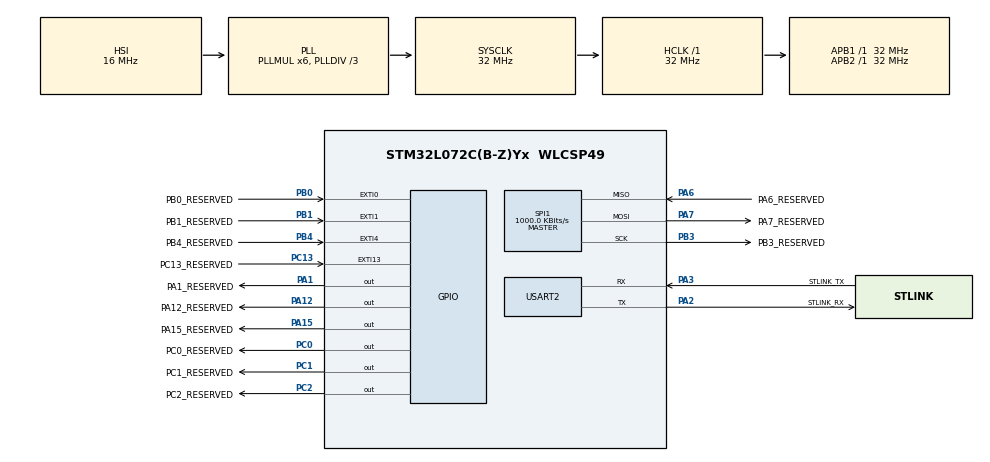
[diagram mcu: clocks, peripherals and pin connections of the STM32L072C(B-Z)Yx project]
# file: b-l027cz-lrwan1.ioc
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CRC.InputDataFormat=CRC_INPUTDATA_FORMAT_WORDS
Mcu.Family=STM32L0
Mcu.Name=STM32L072C(B-Z)Yx
Mcu.Package=WLCSP49
NVIC.EXTI0_1_IRQn=true\:0\:0\:false\:false\:true\:true\:true\:true
NVIC.EXTI4_15_IRQn=true\:0\:0\:false\:false\:true\:true\:true\:true
NVIC.RTC_IRQn=true\:0\:0\:false\:false\:true\:true\:true\:true
NVIC.USART2_IRQn=true\:0\:0\:false\:false\:true\:true\:true\:true
PA1.GPIO_Label=PA1_RESERVED
PA1.GPIO_Speed=GPIO_SPEED_FREQ_HIGH
PA1.PinState=GPIO_PIN_RESET
PA1.Signal=GPIO_Output
PA12.GPIO_Label=PA12_RESERVED
PA12.GPIO_Speed=GPIO_SPEED_FREQ_HIGH
PA12.Signal=GPIO_Output
PA15.GPIO_Label=PA15_RESERVED
PA15.GPIO_Speed=GPIO_SPEED_FREQ_HIGH
PA15.Signal=GPIO_Output
PA2.GPIO_Label=STLINK_RX
PA2.Mode=Asynchronous
PA2.Signal=USART2_TX
PA3.GPIO_Label=STLINK_TX
PA3.Mode=Asynchronous
PA3.Signal=USART2_RX
PA6.GPIO_Label=PA6_RESERVED
PA6.Mode=Full_Duplex_Master
PA6.Signal=SPI1_MISO
PA7.GPIO_Label=PA7_RESERVED
PA7.Mode=Full_Duplex_Master
PA7.Signal=SPI1_MOSI
PB0.GPIO_Label=PB0_RESERVED
PB0.Signal=GPXTI0
PB1.GPIO_Label=PB1_RESERVED
PB1.Signal=GPXTI1
PB3.GPIO_Label=PB3_RESERVED
PB3.Mode=Full_Duplex_Master
PB3.Signal=SPI1_SCK
PB4.GPIO_Label=PB4_RESERVED
PB4.Signal=GPXTI4
PC0.GPIO_Label=PC0_RESERVED
PC0.GPIO_Speed=GPIO_SPEED_FREQ_HIGH
PC0.Signal=GPIO_Output
PC1.GPIO_Label=PC1_RESERVED
PC1.GPIO_Speed=GPIO_SPEED_FREQ_HIGH
PC1.Signal=GPIO_Output
PC13.GPIO_Label=PC13_RESERVED
PC13.Signal=GPXTI13
PC2.GPIO_Label=PC2_RESERVED
PC2.GPIO_Speed=GPIO_SPEED_FREQ_HIGH
PC2.Signal=GPIO_Output
PH0-OSC_IN.Signal=RCC_OSC_IN
PH1-OSC_OUT.Signal=RCC_OSC_OUT
ProjectManager.HeapSize=0x200
ProjectManager.StackSize=0x400
ProjectManager.TargetToolchain=Makefile
RCC.AHBFreq_Value=32000000
RCC.APB1Freq_Value=32000000
RCC.APB1TimFreq_Value=32000000
RCC.APB2Freq_Value=32000000
RCC.APB2TimFreq_Value=32000000
RCC.HCLKFreq_Value=32000000
RCC.HSE_VALUE=8000000
RCC.HSI16_VALUE=16000000
RCC.HSI48_VALUE=48000000
RCC.HSI_VALUE=16000000
RCC.LSE_VALUE=32768
RCC.MSI_VALUE=2097000
RCC.PLLDIV=RCC_PLLDIV_3
RCC.PLLMUL=RCC_PLLMUL_6
RCC.SYSCLKFreq_VALUE=32000000
RCC.SYSCLKSource=RCC_SYSCLKSOURCE_PLLCLK
RCC.VCOOutputFreq_Value=96000000
RTC.Alarm-Alarm\ A=RTC_ALARM_A
RTC.AlarmSubSecondMask-Alarm\ A=RTC_ALARMSUBSECONDMASK_NONE
RTC.AsynchPrediv=31
RTC.Format=RTC_FORMAT_BIN
RTC.SynchPrediv=1023
SPI1.BaudRatePrescaler=SPI_BAUDRATEPRESCALER_32
SPI1.CalculateBaudRate=1000.0 KBits/s
SPI1.Direction=SPI_DIRECTION_2LINES
SPI1.Mode=SPI_MODE_MASTER
SPI1.VirtualType=VM_MASTER
USART2.VirtualMode-Asynchronous=VM_ASYNC
VP_CRC_VS_CRC.Mode=CRC_Activate
VP_RTC_VS_RTC_Activate.Mode=RTC_Enabled
VP_RTC_VS_RTC_Alarm_A_Intern.Mode=Alarm A
VP_RTC_VS_RTC_Calendar.Mode=RTC_Calendar
board=B-L072Z-LRWAN1

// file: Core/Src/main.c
/* USER CODE BEGIN Header */
/**
  ******************************************************************************
  * @file           : main.c
  * @brief          : Main program body
  ******************************************************************************
  * @attention
  *
  * Copyright (c) 2023 STMicroelectronics.
  * All rights reserved.
  *
  * This software is licensed under terms that can be found in the LICENSE file
  * in the root directory of this software component.
  * If no LICENSE file comes with this software, it is provided AS-IS.
  *
  ******************************************************************************
  */
/* USER CODE END Header */
#include "main.h"

/* USER CODE BEGIN Includes */

#include <string.h>
#include <stdio.h>
#include <errno.h>

#include "app.h"

/* USER CODE END Includes */

RTC_HandleTypeDef hrtc;

SPI_HandleTypeDef hspi1;

UART_HandleTypeDef huart2;

void SystemClock_Config(void);
static void MX_GPIO_Init(void);
static void MX_RTC_Init(void);
static void MX_SPI1_Init(void);
static void MX_USART2_UART_Init(void);

/* USER CODE BEGIN 0 */

int _write(int fd, char *ptr, int len)
{
  int ret;

  HAL_StatusTypeDef dev_ret;
  /* stdout, stderr */
  if (fd == 1 || fd == 2) {
    dev_ret = HAL_UART_Transmit(&huart2, (uint8_t *)ptr, len, 0xFFFFu);
    if (dev_ret == HAL_OK) {
        ret = len;
    } else {
        ret = -EIO;
    }
  } else {
	  ret = -EBADF;
  }

  return ret;
}

/* USER CODE END 0 */

int main(void)
{

  /* MCU Configuration--------------------------------------------------------*/

  /* Reset of all peripherals, Initializes the Flash interface and the Systick. */
  HAL_Init();

  /* Configure the system clock */
  SystemClock_Config();

  /* Initialize all configured peripherals */
  MX_GPIO_Init();
  MX_RTC_Init();
  MX_SPI1_Init();
  MX_USART2_UART_Init();

  /* Infinite loop */
  /* USER CODE BEGIN WHILE */

  while (1)
  {
    char chr;
    if (HAL_UART_Receive(&huart2, (uint8_t *)&chr, 1u, 0u) == HAL_OK) {
      app_shell(chr);
    }
    /* USER CODE END WHILE */

  }
}

void SystemClock_Config(void)
{
  RCC_OscInitTypeDef RCC_OscInitStruct = {0};
  RCC_ClkInitTypeDef RCC_ClkInitStruct = {0};
  RCC_PeriphCLKInitTypeDef PeriphClkInit = {0};

  /** Configure the main internal regulator output voltage
  */
  __HAL_PWR_VOLTAGESCALING_CONFIG(PWR_REGULATOR_VOLTAGE_SCALE1);

  /** Initializes the RCC Oscillators according to the specified parameters
  * in the RCC_OscInitTypeDef structure.
  */
  RCC_OscInitStruct.OscillatorType = RCC_OSCILLATORTYPE_HSI|RCC_OSCILLATORTYPE_LSI;
  RCC_OscInitStruct.HSIState = RCC_HSI_ON;
  RCC_OscInitStruct.HSICalibrationValue = RCC_HSICALIBRATION_DEFAULT;
  RCC_OscInitStruct.LSIState = RCC_LSI_ON;
  RCC_OscInitStruct.PLL.PLLState = RCC_PLL_ON;
  RCC_OscInitStruct.PLL.PLLSource = RCC_PLLSOURCE_HSI;
  RCC_OscInitStruct.PLL.PLLMUL = RCC_PLLMUL_6;
  RCC_OscInitStruct.PLL.PLLDIV = RCC_PLLDIV_3;
  if (HAL_RCC_OscConfig(&RCC_OscInitStruct) != HAL_OK)
  {
    Error_Handler();
  }

  /** Initializes the CPU, AHB and APB buses clocks
  */
  RCC_ClkInitStruct.ClockType = RCC_CLOCKTYPE_HCLK|RCC_CLOCKTYPE_SYSCLK
                              |RCC_CLOCKTYPE_PCLK1|RCC_CLOCKTYPE_PCLK2;
  RCC_ClkInitStruct.SYSCLKSource = RCC_SYSCLKSOURCE_PLLCLK;
  RCC_ClkInitStruct.AHBCLKDivider = RCC_SYSCLK_DIV1;
  RCC_ClkInitStruct.APB1CLKDivider = RCC_HCLK_DIV1;
  RCC_ClkInitStruct.APB2CLKDivider = RCC_HCLK_DIV1;

  if (HAL_RCC_ClockConfig(&RCC_ClkInitStruct, FLASH_LATENCY_1) != HAL_OK)
  {
    Error_Handler();
  }
  PeriphClkInit.PeriphClockSelection = RCC_PERIPHCLK_USART2|RCC_PERIPHCLK_RTC;
  PeriphClkInit.Usart2ClockSelection = RCC_USART2CLKSOURCE_PCLK1;
  PeriphClkInit.RTCClockSelection = RCC_RTCCLKSOURCE_LSI;
  if (HAL_RCCEx_PeriphCLKConfig(&PeriphClkInit) != HAL_OK)
  {
    Error_Handler();
  }
}

static void MX_RTC_Init(void)
{

  RTC_TimeTypeDef sTime = {0};
  RTC_DateTypeDef sDate = {0};
  RTC_AlarmTypeDef sAlarm = {0};

  /** Initialize RTC Only
  */
  hrtc.Instance = RTC;
  hrtc.Init.HourFormat = RTC_HOURFORMAT_24;
  hrtc.Init.AsynchPrediv = 31;
  hrtc.Init.SynchPrediv = 1023;
  hrtc.Init.OutPut = RTC_OUTPUT_DISABLE;
  hrtc.Init.OutPutRemap = RTC_OUTPUT_REMAP_NONE;
  hrtc.Init.OutPutPolarity = RTC_OUTPUT_POLARITY_HIGH;
  hrtc.Init.OutPutType = RTC_OUTPUT_TYPE_OPENDRAIN;
  if (HAL_RTC_Init(&hrtc) != HAL_OK)
  {
    Error_Handler();
  }

  /** Initialize RTC and set the Time and Date
  */
  sTime.Hours = 0;
  sTime.Minutes = 0;
  sTime.Seconds = 0;
  sTime.DayLightSaving = RTC_DAYLIGHTSAVING_NONE;
  sTime.StoreOperation = RTC_STOREOPERATION_RESET;
  if (HAL_RTC_SetTime(&hrtc, &sTime, RTC_FORMAT_BIN) != HAL_OK)
  {
    Error_Handler();
  }
  sDate.WeekDay = RTC_WEEKDAY_MONDAY;
  sDate.Month = RTC_MONTH_JANUARY;
  sDate.Date = 1;
  sDate.Year = 0;

  if (HAL_RTC_SetDate(&hrtc, &sDate, RTC_FORMAT_BIN) != HAL_OK)
  {
    Error_Handler();
  }

  /** Enable the Alarm A
  */
  sAlarm.AlarmTime.Hours = 0;
  sAlarm.AlarmTime.Minutes = 0;
  sAlarm.AlarmTime.Seconds = 0;
  sAlarm.AlarmTime.SubSeconds = 0;
  sAlarm.AlarmTime.DayLightSaving = RTC_DAYLIGHTSAVING_NONE;
  sAlarm.AlarmTime.StoreOperation = RTC_STOREOPERATION_RESET;
  sAlarm.AlarmMask = RTC_ALARMMASK_NONE;
  sAlarm.AlarmSubSecondMask = RTC_ALARMSUBSECONDMASK_NONE;
  sAlarm.AlarmDateWeekDaySel = RTC_ALARMDATEWEEKDAYSEL_DATE;
  sAlarm.AlarmDateWeekDay = 1;
  sAlarm.Alarm = RTC_ALARM_A;
  if (HAL_RTC_SetAlarm_IT(&hrtc, &sAlarm, RTC_FORMAT_BIN) != HAL_OK)
  {
    Error_Handler();
  }

}

static void MX_SPI1_Init(void)
{

  /* SPI1 parameter configuration*/
  hspi1.Instance = SPI1;
  hspi1.Init.Mode = SPI_MODE_MASTER;
  hspi1.Init.Direction = SPI_DIRECTION_2LINES;
  hspi1.Init.DataSize = SPI_DATASIZE_8BIT;
  hspi1.Init.CLKPolarity = SPI_POLARITY_LOW;
  hspi1.Init.CLKPhase = SPI_PHASE_1EDGE;
  hspi1.Init.NSS = SPI_NSS_SOFT;
  hspi1.Init.BaudRatePrescaler = SPI_BAUDRATEPRESCALER_32;
  hspi1.Init.FirstBit = SPI_FIRSTBIT_MSB;
  hspi1.Init.TIMode = SPI_TIMODE_DISABLE;
  hspi1.Init.CRCCalculation = SPI_CRCCALCULATION_DISABLE;
  hspi1.Init.CRCPolynomial = 7;
  if (HAL_SPI_Init(&hspi1) != HAL_OK)
  {
    Error_Handler();
  }

}

static void MX_USART2_UART_Init(void)
{

  huart2.Instance = USART2;
  huart2.Init.BaudRate = 115200;
  huart2.Init.WordLength = UART_WORDLENGTH_8B;
  huart2.Init.StopBits = UART_STOPBITS_1;
  huart2.Init.Parity = UART_PARITY_NONE;
  huart2.Init.Mode = UART_MODE_TX_RX;
  huart2.Init.HwFlowCtl = UART_HWCONTROL_NONE;
  huart2.Init.OverSampling = UART_OVERSAMPLING_16;
  huart2.Init.OneBitSampling = UART_ONE_BIT_SAMPLE_DISABLE;
  huart2.AdvancedInit.AdvFeatureInit = UART_ADVFEATURE_NO_INIT;
  if (HAL_UART_Init(&huart2) != HAL_OK)
  {
    Error_Handler();
  }

}

static void MX_GPIO_Init(void)
{
  GPIO_InitTypeDef GPIO_InitStruct = {0};

  /* GPIO Ports Clock Enable */
  __HAL_RCC_GPIOA_CLK_ENABLE();
  __HAL_RCC_GPIOB_CLK_ENABLE();
  __HAL_RCC_GPIOC_CLK_ENABLE();
  __HAL_RCC_GPIOH_CLK_ENABLE();

  /*Configure GPIO pin Output Level */
  HAL_GPIO_WritePin(GPIOA, PA15_RESERVED_Pin|PA12_RESERVED_Pin|PA1_RESERVED_Pin, GPIO_PIN_RESET);

  /*Configure GPIO pin Output Level */
  HAL_GPIO_WritePin(GPIOC, PC1_RESERVED_Pin|PC0_RESERVED_Pin|PC2_RESERVED_Pin, GPIO_PIN_RESET);

  /*Configure GPIO pins : PA15_RESERVED_Pin PA12_RESERVED_Pin PA1_RESERVED_Pin */
  GPIO_InitStruct.Pin = PA15_RESERVED_Pin|PA12_RESERVED_Pin|PA1_RESERVED_Pin;
  GPIO_InitStruct.Mode = GPIO_MODE_OUTPUT_PP;
  GPIO_InitStruct.Pull = GPIO_NOPULL;
  GPIO_InitStruct.Speed = GPIO_SPEED_FREQ_HIGH;
  HAL_GPIO_Init(GPIOA, &GPIO_InitStruct);

  /*Configure GPIO pins : PB4_RESERVED_Pin PB1_RESERVED_Pin PB0_RESERVED_Pin */
  GPIO_InitStruct.Pin = PB4_RESERVED_Pin|PB1_RESERVED_Pin|PB0_RESERVED_Pin;
  GPIO_InitStruct.Mode = GPIO_MODE_IT_RISING;
  GPIO_InitStruct.Pull = GPIO_NOPULL;
  HAL_GPIO_Init(GPIOB, &GPIO_InitStruct);

  /*Configure GPIO pin : PC13_RESERVED_Pin */
  GPIO_InitStruct.Pin = PC13_RESERVED_Pin;
  GPIO_InitStruct.Mode = GPIO_MODE_IT_RISING;
  GPIO_InitStruct.Pull = GPIO_NOPULL;
  HAL_GPIO_Init(PC13_RESERVED_GPIO_Port, &GPIO_InitStruct);

  /*Configure GPIO pins : PC1_RESERVED_Pin PC0_RESERVED_Pin PC2_RESERVED_Pin */
  GPIO_InitStruct.Pin = PC1_RESERVED_Pin|PC0_RESERVED_Pin|PC2_RESERVED_Pin;
  GPIO_InitStruct.Mode = GPIO_MODE_OUTPUT_PP;
  GPIO_InitStruct.Pull = GPIO_NOPULL;
  GPIO_InitStruct.Speed = GPIO_SPEED_FREQ_HIGH;
  HAL_GPIO_Init(GPIOC, &GPIO_InitStruct);

  /* EXTI interrupt init*/
  HAL_NVIC_SetPriority(EXTI0_1_IRQn, 0, 0);
  HAL_NVIC_EnableIRQ(EXTI0_1_IRQn);

  HAL_NVIC_SetPriority(EXTI4_15_IRQn, 0, 0);
  HAL_NVIC_EnableIRQ(EXTI4_15_IRQn);

}

void Error_Handler(void)
{
  __disable_irq();
  while (1)
  {
  }
}
